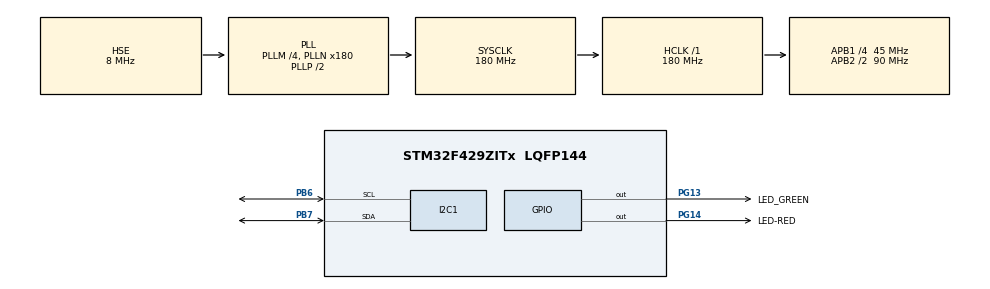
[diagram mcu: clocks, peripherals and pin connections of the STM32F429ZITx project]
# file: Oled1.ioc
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I2C1.DutyCycle=I2C_DUTYCYCLE_16_9
I2C1.I2C_Mode=I2C_Fast
Mcu.Family=STM32F4
Mcu.Name=STM32F429ZITx
Mcu.Package=LQFP144
NVIC.PriorityGroup=NVIC_PRIORITYGROUP_4
PB6.Mode=I2C
PB6.Signal=I2C1_SCL
PB7.Mode=I2C
PB7.Signal=I2C1_SDA
PG13.GPIO_Label=LED_GREEN
PG13.Signal=GPIO_Output
PG14.GPIO_Label=LED-RED
PG14.Signal=GPIO_Output
PH0/OSC_IN.Mode=HSE-External-Oscillator
PH0/OSC_IN.Signal=RCC_OSC_IN
PH1/OSC_OUT.Mode=HSE-External-Oscillator
PH1/OSC_OUT.Signal=RCC_OSC_OUT
ProjectManager.HeapSize=0x200
ProjectManager.StackSize=0x400
ProjectManager.TargetToolchain=MDK-ARM V5
RCC.48MHZClocksFreq_Value=45000000
RCC.AHBFreq_Value=180000000
RCC.APB1CLKDivider=RCC_HCLK_DIV4
RCC.APB1Freq_Value=45000000
RCC.APB1TimFreq_Value=90000000
RCC.APB2CLKDivider=RCC_HCLK_DIV2
RCC.APB2Freq_Value=90000000
RCC.APB2TimFreq_Value=180000000
RCC.CortexFreq_Value=180000000
RCC.HCLKFreq_Value=180000000
RCC.HSE_VALUE=8000000
RCC.HSI_VALUE=16000000
RCC.LSE_VALUE=32768
RCC.PLLM=4
RCC.PLLN=180
RCC.PLLQ=8
RCC.PLLSourceVirtual=RCC_PLLSOURCE_HSE
RCC.SYSCLKFreq_VALUE=180000000
RCC.SYSCLKSource=RCC_SYSCLKSOURCE_PLLCLK
RCC.VCOOutputFreq_Value=360000000
VP_RNG_VS_RNG.Mode=RNG_Activate
board=custom

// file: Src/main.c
/* USER CODE BEGIN Header */
/**
  ******************************************************************************
  * @file           : main.c
  * @brief          : Main program body
  ******************************************************************************
  ** This notice applies to any and all portions of this file
  * that are not between comment pairs USER CODE BEGIN and
  * USER CODE END. Other portions of this file, whether
  * inserted by the user or by software development tools
  * are owned by their respective copyright owners.
  *
  * COPYRIGHT(c) 2020 STMicroelectronics
  *
  * Redistribution and use in source and binary forms, with or without modification,
  * are permitted provided that the following conditions are met:
  *   1. Redistributions of source code must retain the above copyright notice,
  *      this list of conditions and the following disclaimer.
  *   2. Redistributions in binary form must reproduce the above copyright notice,
  *      this list of conditions and the following disclaimer in the documentation
  *      and/or other materials provided with the distribution.
  *   3. Neither the name of STMicroelectronics nor the names of its contributors
  *      may be used to endorse or promote products derived from this software
  *      without specific prior written permission.
  *
  * THIS SOFTWARE IS PROVIDED BY THE COPYRIGHT HOLDERS AND CONTRIBUTORS "AS IS"
  * AND ANY EXPRESS OR IMPLIED WARRANTIES, INCLUDING, BUT NOT LIMITED TO, THE
  * IMPLIED WARRANTIES OF MERCHANTABILITY AND FITNESS FOR A PARTICULAR PURPOSE ARE
  * DISCLAIMED. IN NO EVENT SHALL THE COPYRIGHT HOLDER OR CONTRIBUTORS BE LIABLE
  * FOR ANY DIRECT, INDIRECT, INCIDENTAL, SPECIAL, EXEMPLARY, OR CONSEQUENTIAL
  * DAMAGES (INCLUDING, BUT NOT LIMITED TO, PROCUREMENT OF SUBSTITUTE GOODS OR
  * SERVICES; LOSS OF USE, DATA, OR PROFITS; OR BUSINESS INTERRUPTION) HOWEVER
  * CAUSED AND ON ANY THEORY OF LIABILITY, WHETHER IN CONTRACT, STRICT LIABILITY,
  * OR TORT (INCLUDING NEGLIGENCE OR OTHERWISE) ARISING IN ANY WAY OUT OF THE USE
  * OF THIS SOFTWARE, EVEN IF ADVISED OF THE POSSIBILITY OF SUCH DAMAGE.
  *
  ******************************************************************************
  */
/* USER CODE END Header */

#include "main.h"

/* USER CODE BEGIN Includes */
#include "SSD1306.h"
#include <stdlib.h>

/* USER CODE END Includes */

/* USER CODE BEGIN PTD */
/* Include my libraries here */

/* USER CODE END PTD */

static I2C_HandleTypeDef hi2c1;

RNG_HandleTypeDef hrng;

void SystemClock_Config(void);
static void MX_GPIO_Init(void);
static void MX_I2C1_Init(void);
static void MX_SPI1_Init(void);
static void MX_RNG_Init(void);

int main(void)
{
  /* USER CODE BEGIN 1 */
	int x=0, y=0, modex=0, modey=0, i=0;
	unsigned int rng;
	char temp[6];

  /* USER CODE END 1 */

  /* MCU Configuration--------------------------------------------------------*/

  /* Reset of all peripherals, Initializes the Flash interface and the Systick. */
  HAL_Init();

  /* Configure the system clock */
  SystemClock_Config();

  /* Initialize all configured peripherals */
  MX_GPIO_Init();
  MX_I2C1_Init();
  MX_RNG_Init();
  /* USER CODE BEGIN 2 */

	while((HAL_I2C_IsDeviceReady(&hi2c1, 0x78, 1, 20) != HAL_OK) && (i<50))
		i++;

	if( i<=50)
		HAL_GPIO_WritePin(GPIOG, LED_GREEN_Pin, GPIO_PIN_SET);
	else
		HAL_GPIO_WritePin(GPIOG, LED_RED_Pin, GPIO_PIN_SET);

	SSD1306_init(&hi2c1);

	fill(1);
	drawFullscreen(&hi2c1);
	fill(0);
	circle(30, 30, 30, 1);
	fillRect(0,48, 127, 64, 1);
	text(10, 49, "High Temp", 0, 1, 2);
	rectangle(0,0, 20, 20, 1);
	pixel(0,0,1,1);
	pixel(0,63,1,1);
	pixel(127,0,1,1);
	pixel(127,63,1,1);
	drawFullscreen(&hi2c1);

  /* USER CODE END 2 */

  /* Infinite loop */
  /* USER CODE BEGIN WHILE */

	/*
	ssd1306_clear_screen(0xFF);
	delay_ms(1000);
	ssd1306_clear_screen(0x00);
	ssd1306_display_string(18, 0, "1.3inch OLED", 16, 1);
	ssd1306_display_string(0, 16, "This is a demo for SSD1306/1106 OLED moudle!", 16, 1);
	ssd1306_refresh_gram();
	delay_ms(1000);
	ssd1306_clear_screen(0x00);

	ssd1306_draw_bitmap(0, 2, &c_chSingal816[0], 16, 8);
	ssd1306_draw_bitmap(24, 2, &c_chBluetooth88[0], 8, 8);
	ssd1306_draw_bitmap(40, 2, &c_chMsg816[0], 16, 8);
	ssd1306_draw_bitmap(64, 2, &c_chGPRS88[0], 8, 8);
	ssd1306_draw_bitmap(90, 2, &c_chAlarm88[0], 8, 8);
	ssd1306_draw_bitmap(112, 2, &c_chBat816[0], 16, 8);

	ssd1306_draw_3216char(0,16, '2');
	ssd1306_draw_3216char(16,16, '3');
	ssd1306_draw_3216char(32,16, ':');
	ssd1306_draw_3216char(48,16, '5');
	ssd1306_draw_3216char(64,16, '6');
	ssd1306_draw_1616char(80,32, ':');
	ssd1306_draw_1616char(96,32, '4');
	ssd1306_draw_1616char(112,32, '7');
	ssd1306_draw_bitmap(87, 16, &c_chBmp4016[0], 40, 16);

	ssd1306_display_string(0, 52, "MUSIC", 12, 0);
	ssd1306_display_string(52, 52, "MENU", 12, 0);
	ssd1306_display_string(98, 52, "PHONE", 12, 0);

	ssd1306_refresh_gram();
	*/

  while (1)
  {

		if(modex==0) x++;
		else         x--;
		if(modey==0) y++;
		else         y--;

		if(y > 30) modey=1;
		if(y < 1) modey=0;

		if(x > 60) modex=1;
		if(x < 1) modex=0;

		if(HAL_RNG_GenerateRandomNumber(&hrng, &rng) == HAL_OK)
		{
			rng %= 64;

			circle(rng, rng, rng, 1);

		  sprintf(temp, "SMAP%d", rng);
		  text(x, y, temp, 0, 1, 3);

		  if(rng > 32)
		  {fillRect(0,48, 127, 64, 1);
	    text(10, 49, "High Temp", 0, 1, 2);}
		  else
			fillRect(0,48, 127, 64, 0);

		  drawFullscreen(&hi2c1);
			fill(0);
		}

		//fillRect(x,y, x+50, y+17, 0);

    /* USER CODE END WHILE */

  }
}

void SystemClock_Config(void)
{
  RCC_OscInitTypeDef RCC_OscInitStruct = {0};
  RCC_ClkInitTypeDef RCC_ClkInitStruct = {0};

  /**Configure the main internal regulator output voltage
  */
  __HAL_RCC_PWR_CLK_ENABLE();
  __HAL_PWR_VOLTAGESCALING_CONFIG(PWR_REGULATOR_VOLTAGE_SCALE1);
  /**Initializes the CPU, AHB and APB busses clocks
  */
  RCC_OscInitStruct.OscillatorType = RCC_OSCILLATORTYPE_HSE;
  RCC_OscInitStruct.HSEState = RCC_HSE_ON;
  RCC_OscInitStruct.PLL.PLLState = RCC_PLL_ON;
  RCC_OscInitStruct.PLL.PLLSource = RCC_PLLSOURCE_HSE;
  RCC_OscInitStruct.PLL.PLLM = 4;
  RCC_OscInitStruct.PLL.PLLN = 180;
  RCC_OscInitStruct.PLL.PLLP = RCC_PLLP_DIV2;
  RCC_OscInitStruct.PLL.PLLQ = 8;
  if (HAL_RCC_OscConfig(&RCC_OscInitStruct) != HAL_OK)
  {
    Error_Handler();
  }
  /**Activate the Over-Drive mode
  */
  if (HAL_PWREx_EnableOverDrive() != HAL_OK)
  {
    Error_Handler();
  }
  /**Initializes the CPU, AHB and APB busses clocks
  */
  RCC_ClkInitStruct.ClockType = RCC_CLOCKTYPE_HCLK|RCC_CLOCKTYPE_SYSCLK
                              |RCC_CLOCKTYPE_PCLK1|RCC_CLOCKTYPE_PCLK2;
  RCC_ClkInitStruct.SYSCLKSource = RCC_SYSCLKSOURCE_PLLCLK;
  RCC_ClkInitStruct.AHBCLKDivider = RCC_SYSCLK_DIV1;
  RCC_ClkInitStruct.APB1CLKDivider = RCC_HCLK_DIV4;
  RCC_ClkInitStruct.APB2CLKDivider = RCC_HCLK_DIV2;

  if (HAL_RCC_ClockConfig(&RCC_ClkInitStruct, FLASH_LATENCY_5) != HAL_OK)
  {
    Error_Handler();
  }
}

static void MX_I2C1_Init(void)
{

  hi2c1.Instance = I2C1;
  hi2c1.Init.ClockSpeed = 400000;
  hi2c1.Init.DutyCycle = I2C_DUTYCYCLE_16_9;
  hi2c1.Init.OwnAddress1 = 0;
  hi2c1.Init.AddressingMode = I2C_ADDRESSINGMODE_7BIT;
  hi2c1.Init.DualAddressMode = I2C_DUALADDRESS_DISABLE;
  hi2c1.Init.OwnAddress2 = 0;
  hi2c1.Init.GeneralCallMode = I2C_GENERALCALL_DISABLE;
  hi2c1.Init.NoStretchMode = I2C_NOSTRETCH_DISABLE;
  if (HAL_I2C_Init(&hi2c1) != HAL_OK)
  {
    Error_Handler();
  }
  /**Configure Analogue filter
  */
  if (HAL_I2CEx_ConfigAnalogFilter(&hi2c1, I2C_ANALOGFILTER_ENABLE) != HAL_OK)
  {
    Error_Handler();
  }
  /**Configure Digital filter
  */
  if (HAL_I2CEx_ConfigDigitalFilter(&hi2c1, 0) != HAL_OK)
  {
    Error_Handler();
  }

}

static void MX_RNG_Init(void)
{

  hrng.Instance = RNG;
  if (HAL_RNG_Init(&hrng) != HAL_OK)
  {
    Error_Handler();
  }

}

static void MX_GPIO_Init(void)
{
  GPIO_InitTypeDef GPIO_InitStruct = {0};

  /* GPIO Ports Clock Enable */
  __HAL_RCC_GPIOC_CLK_ENABLE();
  __HAL_RCC_GPIOH_CLK_ENABLE();
  __HAL_RCC_GPIOA_CLK_ENABLE();
  __HAL_RCC_GPIOG_CLK_ENABLE();
  __HAL_RCC_GPIOB_CLK_ENABLE();

  /*Configure GPIO pin Output Level */
  HAL_GPIO_WritePin(GPIOG, LED_GREEN_Pin|LED_RED_Pin, GPIO_PIN_RESET);

  /*Configure GPIO pins : LED_GREEN_Pin LED_RED_Pin */
  GPIO_InitStruct.Pin = LED_GREEN_Pin|LED_RED_Pin;
  GPIO_InitStruct.Mode = GPIO_MODE_OUTPUT_PP;
  GPIO_InitStruct.Pull = GPIO_NOPULL;
  GPIO_InitStruct.Speed = GPIO_SPEED_FREQ_LOW;
  HAL_GPIO_Init(GPIOG, &GPIO_InitStruct);

}

void Error_Handler(void)
{
}

/************************ (C) COPYRIGHT STMicroelectronics *****END OF FILE****/
